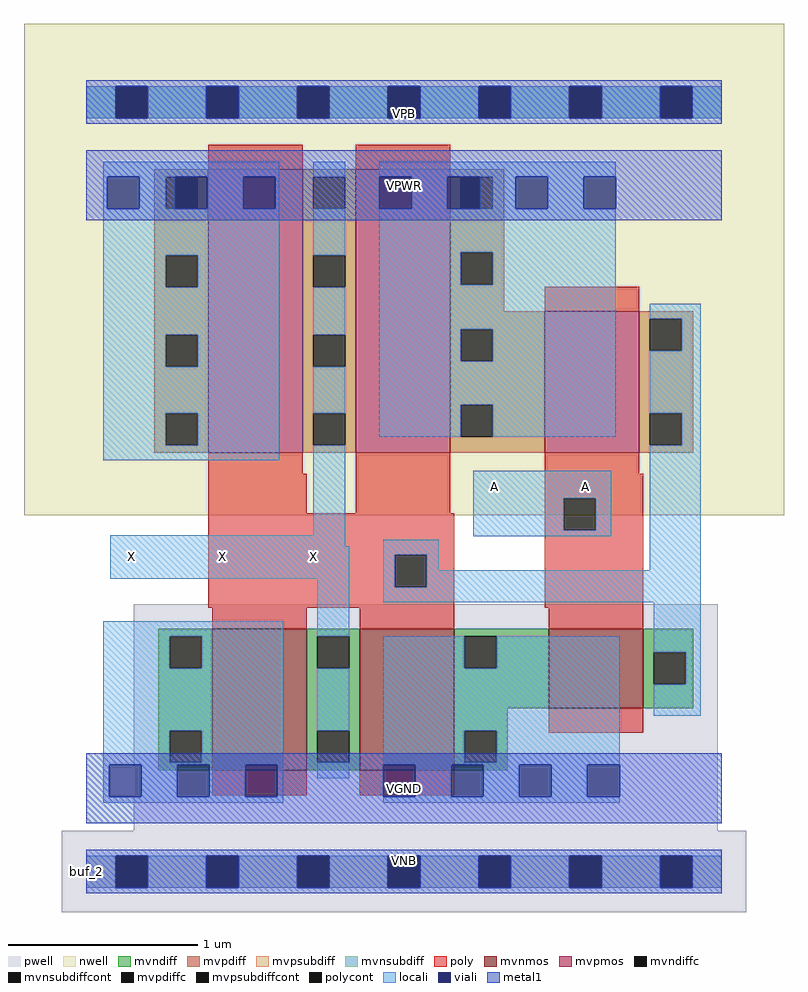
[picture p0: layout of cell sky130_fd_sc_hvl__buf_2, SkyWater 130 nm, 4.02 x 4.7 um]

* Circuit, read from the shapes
.subckt sky130_fd_sc_hvl__buf_2 A VGND VNB VPB VPWR X
XM1 X n1 VGND VNB sky130_fd_pr__nfet_g5v0d10v5 w=0.75 l=0.5 m=2
XM2 n1 A VGND VNB sky130_fd_pr__nfet_g5v0d10v5 w=0.42 l=0.5
XM3 X n1 VPWR VPB sky130_fd_pr__pfet_g5v0d10v5 w=1.5 l=0.5 m=2
XM4 n1 A VPWR VPB sky130_fd_pr__pfet_g5v0d10v5 w=0.75 l=0.5
.ends

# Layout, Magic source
magic
tech sky130A
magscale 1 2
<< nwell >>
rect -66 377 738 897
<< pwell >>
rect 50 43 668 283
rect -26 -43 698 43
<< mvnmos >>
rect 133 107 233 257
rect 289 107 389 257
rect 489 173 589 257
<< mvpmos >>
rect 129 443 229 743
rect 285 443 385 743
rect 485 443 585 593
<< mvndiff >>
rect 76 249 133 257
rect 76 215 88 249
rect 122 215 133 249
rect 76 149 133 215
rect 76 115 88 149
rect 122 115 133 149
rect 76 107 133 115
rect 233 249 289 257
rect 233 215 244 249
rect 278 215 289 249
rect 233 149 289 215
rect 233 115 244 149
rect 278 115 289 149
rect 233 107 289 115
rect 389 249 489 257
rect 389 215 400 249
rect 434 215 489 249
rect 389 173 489 215
rect 589 232 642 257
rect 589 198 600 232
rect 634 198 642 232
rect 589 173 642 198
rect 389 149 446 173
rect 389 115 400 149
rect 434 115 446 149
rect 389 107 446 115
<< mvpdiff >>
rect 72 735 129 743
rect 72 701 84 735
rect 118 701 129 735
rect 72 652 129 701
rect 72 618 84 652
rect 118 618 129 652
rect 72 568 129 618
rect 72 534 84 568
rect 118 534 129 568
rect 72 485 129 534
rect 72 451 84 485
rect 118 451 129 485
rect 72 443 129 451
rect 229 735 285 743
rect 229 701 240 735
rect 274 701 285 735
rect 229 652 285 701
rect 229 618 240 652
rect 274 618 285 652
rect 229 568 285 618
rect 229 534 240 568
rect 274 534 285 568
rect 229 485 285 534
rect 229 451 240 485
rect 274 451 285 485
rect 229 443 285 451
rect 385 735 442 743
rect 385 701 396 735
rect 430 701 442 735
rect 385 655 442 701
rect 385 621 396 655
rect 430 621 442 655
rect 385 593 442 621
rect 385 574 485 593
rect 385 540 396 574
rect 430 540 485 574
rect 385 494 485 540
rect 385 460 396 494
rect 430 460 485 494
rect 385 443 485 460
rect 585 585 642 593
rect 585 551 596 585
rect 630 551 642 585
rect 585 485 642 551
rect 585 451 596 485
rect 630 451 642 485
rect 585 443 642 451
<< mvndiffc >>
rect 88 215 122 249
rect 88 115 122 149
rect 244 215 278 249
rect 244 115 278 149
rect 400 215 434 249
rect 600 198 634 232
rect 400 115 434 149
<< mvpdiffc >>
rect 84 701 118 735
rect 84 618 118 652
rect 84 534 118 568
rect 84 451 118 485
rect 240 701 274 735
rect 240 618 274 652
rect 240 534 274 568
rect 240 451 274 485
rect 396 701 430 735
rect 396 621 430 655
rect 396 540 430 574
rect 396 460 430 494
rect 596 551 630 585
rect 596 451 630 485
<< mvpsubdiff >>
rect 0 -17 31 17
rect 65 -17 127 17
rect 161 -17 223 17
rect 257 -17 319 17
rect 353 -17 415 17
rect 449 -17 511 17
rect 545 -17 607 17
rect 641 -17 672 17
<< mvnsubdiff >>
rect 0 797 31 831
rect 65 797 127 831
rect 161 797 223 831
rect 257 797 319 831
rect 353 797 415 831
rect 449 797 511 831
rect 545 797 607 831
rect 641 797 672 831
<< mvpsubdiffcont >>
rect 31 -17 65 17
rect 127 -17 161 17
rect 223 -17 257 17
rect 319 -17 353 17
rect 415 -17 449 17
rect 511 -17 545 17
rect 607 -17 641 17
<< mvnsubdiffcont >>
rect 31 797 65 831
rect 127 797 161 831
rect 223 797 257 831
rect 319 797 353 831
rect 415 797 449 831
rect 511 797 545 831
rect 607 797 641 831
<< poly >>
rect 129 743 229 769
rect 285 743 385 769
rect 485 593 585 619
rect 129 421 229 443
rect 129 379 233 421
rect 285 379 385 443
rect 485 421 585 443
rect 485 395 589 421
rect 129 335 389 379
rect 129 301 326 335
rect 360 301 389 335
rect 129 279 389 301
rect 485 361 505 395
rect 539 361 589 395
rect 485 279 589 361
rect 133 257 233 279
rect 289 257 389 279
rect 489 257 589 279
rect 489 147 589 173
rect 133 81 233 107
rect 289 81 389 107
<< polycont >>
rect 326 301 360 335
rect 505 361 539 395
<< locali >>
rect 0 797 31 831
rect 65 797 127 831
rect 161 797 223 831
rect 257 797 319 831
rect 353 797 415 831
rect 449 797 511 831
rect 545 797 607 831
rect 641 797 672 831
rect 18 735 204 751
rect 18 701 22 735
rect 56 701 84 735
rect 128 701 166 735
rect 200 701 204 735
rect 18 652 204 701
rect 18 618 84 652
rect 118 618 204 652
rect 18 568 204 618
rect 18 534 84 568
rect 118 534 204 568
rect 18 485 204 534
rect 18 451 84 485
rect 118 451 204 485
rect 18 435 204 451
rect 240 735 274 751
rect 240 652 274 701
rect 240 568 274 618
rect 240 485 274 534
rect 310 735 560 751
rect 344 701 382 735
rect 430 701 454 735
rect 488 701 526 735
rect 310 655 560 701
rect 310 621 396 655
rect 430 621 560 655
rect 310 574 560 621
rect 310 540 396 574
rect 430 540 560 574
rect 310 494 560 540
rect 310 460 396 494
rect 430 460 560 494
rect 596 585 650 601
rect 630 551 650 585
rect 596 485 650 551
rect 240 356 274 451
rect 630 451 650 485
rect 25 344 274 356
rect 409 395 555 424
rect 409 361 505 395
rect 539 361 555 395
rect 409 355 555 361
rect 25 310 278 344
rect 18 249 208 265
rect 18 215 88 249
rect 122 215 208 249
rect 18 149 208 215
rect 18 115 88 149
rect 122 115 208 149
rect 18 113 208 115
rect 18 79 24 113
rect 58 79 96 113
rect 130 79 168 113
rect 202 79 208 113
rect 244 249 278 310
rect 314 335 373 351
rect 314 301 326 335
rect 360 319 373 335
rect 596 319 650 451
rect 360 301 650 319
rect 314 285 650 301
rect 244 149 278 215
rect 244 99 278 115
rect 314 215 400 249
rect 434 215 564 249
rect 314 149 564 215
rect 600 232 650 285
rect 634 198 650 232
rect 600 165 650 198
rect 314 115 400 149
rect 434 115 564 149
rect 314 113 564 115
rect 18 73 208 79
rect 348 79 386 113
rect 420 79 458 113
rect 492 79 530 113
rect 314 73 564 79
rect 0 -17 31 17
rect 65 -17 127 17
rect 161 -17 223 17
rect 257 -17 319 17
rect 353 -17 415 17
rect 449 -17 511 17
rect 545 -17 607 17
rect 641 -17 672 17
<< viali >>
rect 31 797 65 831
rect 127 797 161 831
rect 223 797 257 831
rect 319 797 353 831
rect 415 797 449 831
rect 511 797 545 831
rect 607 797 641 831
rect 22 701 56 735
rect 94 701 118 735
rect 118 701 128 735
rect 166 701 200 735
rect 310 701 344 735
rect 382 701 396 735
rect 396 701 416 735
rect 454 701 488 735
rect 526 701 560 735
rect 24 79 58 113
rect 96 79 130 113
rect 168 79 202 113
rect 314 79 348 113
rect 386 79 420 113
rect 458 79 492 113
rect 530 79 564 113
rect 31 -17 65 17
rect 127 -17 161 17
rect 223 -17 257 17
rect 319 -17 353 17
rect 415 -17 449 17
rect 511 -17 545 17
rect 607 -17 641 17
<< metal1 >>
rect 0 831 672 837
rect 0 797 31 831
rect 65 797 127 831
rect 161 797 223 831
rect 257 797 319 831
rect 353 797 415 831
rect 449 797 511 831
rect 545 797 607 831
rect 641 797 672 831
rect 0 791 672 797
rect 0 735 672 763
rect 0 701 22 735
rect 56 701 94 735
rect 128 701 166 735
rect 200 701 310 735
rect 344 701 382 735
rect 416 701 454 735
rect 488 701 526 735
rect 560 701 672 735
rect 0 689 672 701
rect 0 113 672 125
rect 0 79 24 113
rect 58 79 96 113
rect 130 79 168 113
rect 202 79 314 113
rect 348 79 386 113
rect 420 79 458 113
rect 492 79 530 113
rect 564 79 672 113
rect 0 51 672 79
rect 0 17 672 23
rect 0 -17 31 17
rect 65 -17 127 17
rect 161 -17 223 17
rect 257 -17 319 17
rect 353 -17 415 17
rect 449 -17 511 17
rect 545 -17 607 17
rect 641 -17 672 17
rect 0 -23 672 -17
<< labels >>
rlabel comment s 0 0 0 0 4 buf_2
flabel metal1 s 0 51 672 125 0 FreeSans 340 0 0 0 VGND
port 2 nsew ground bidirectional
flabel metal1 s 0 0 672 23 0 FreeSans 340 0 0 0 VNB
port 3 nsew ground bidirectional
flabel metal1 s 0 689 672 763 0 FreeSans 340 0 0 0 VPWR
port 5 nsew power bidirectional
flabel metal1 s 0 791 672 814 0 FreeSans 340 0 0 0 VPB
port 4 nsew power bidirectional
flabel locali s 415 390 449 424 0 FreeSans 340 0 0 0 A
port 1 nsew signal input
flabel locali s 511 390 545 424 0 FreeSans 340 0 0 0 A
port 1 nsew signal input
flabel locali s 31 316 65 350 0 FreeSans 340 0 0 0 X
port 6 nsew signal output
flabel locali s 127 316 161 350 0 FreeSans 340 0 0 0 X
port 6 nsew signal output
flabel locali s 223 316 257 350 0 FreeSans 340 0 0 0 X
port 6 nsew signal output
<< properties >>
string FIXED_BBOX 0 0 672 814
string GDS_END 829860
string GDS_FILE $PDKPATH/libs.ref/sky130_fd_sc_hvl/gds/sky130_fd_sc_hvl.gds
string GDS_START 821298
string LEFclass CORE
string LEFsite unithv
string LEFsymmetry X Y
<< end >>
